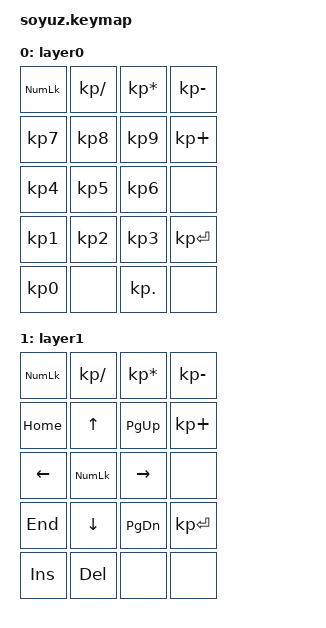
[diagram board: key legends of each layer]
#include <behaviors.dtsi>
#include <dt-bindings/zmk/keys.h>
#include <dt-bindings/zmk/bt.h>
#include <dt-bindings/zmk/ext_power.h>

/ {
    keymap {
        compatible = "zmk,keymap";

        layer0 {
            bindings = <
                &kp KP_NUM   &kp KP_SLASH  &kp KP_ASTERISK &kp KP_MINUS
                &kp KP_N7    &kp KP_N8     &kp KP_N9       &kp KP_PLUS
                &kp KP_N4    &kp KP_N5     &kp KP_N6       &none
                &kp KP_N1    &kp KP_N2     &kp KP_N3       &kp KP_ENTER
                &kp KP_N0    &none         &kp KP_DOT      &none
            >;
        };

        layer1 {
            bindings = <
                &kp KP_NUM   &kp KP_SLASH  &kp KP_ASTERISK &kp KP_MINUS
                &kp HOME     &kp UP        &kp PAGE_UP     &kp KP_PLUS
                &kp LEFT     &kp KP_NUM    &kp RIGHT       &none
                &kp END      &kp DOWN      &kp PAGE_DOWN   &kp KP_ENTER
                &kp INSERT   &kp DELETE    &none           &none
            >;
        };
    };
};
